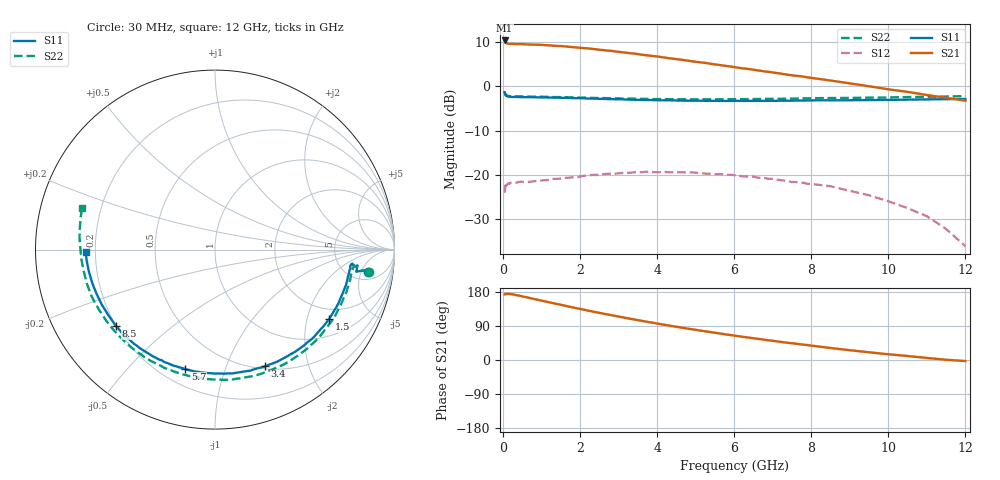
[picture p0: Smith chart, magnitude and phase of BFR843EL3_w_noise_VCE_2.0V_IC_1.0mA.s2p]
! Infineon Technologies  Discrete & RF Semiconductors
! BFR843EL3
! VCE =  2.0 V,  IC =  1.0 mA
! Common Emitter S-Parameters:  Aug 2013
# GHz  S  MA  R  50
!  f  S11  S21  S12  S22
! GHz  MAG  ANG  MAG  ANG  MAG  ANG  MAG  ANG
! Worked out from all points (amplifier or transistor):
!   103 points, 30 MHz to 12 GHz, reference 50 ohm
!   highest |S21| = 10.4 dB at 30 MHz (marker M1)
!   |S21| within 3 dB of that: start of sweep to 3.433 GHz
!   unconditionally stable (mu >= 1): 94.04 MHz to 818.4 MHz; 7.115 GHz to end of sweep
!   at 400 MHz: K = 1.03, MAG = 14.6 dB, |S12| = -21.6 dB
!   at 3.7 GHz: K = 0.75, MSG = 13.2 dB, |S12| = -19.3 dB
!   at 12 GHz: K = 9.11, MAG = 3.8 dB, |S12| = -36.1 dB
!   lowest NFmin = 1.54 dB at 450 MHz
!   S11 on the Smith chart (normalised r, x): 30 MHz: 7.00, -6.53; 1.5 GHz: 1.58, -2.74; 3.4 GHz: 0.53, -1.38; 5.7 GHz: 0.29, -0.74; 8.5 GHz: 0.20, -0.33; 12 GHz: 0.16, -0.01
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0.03  0.8587 -8.2  3.302 173.3  0.0629 39.1  0.8692 -8.2
0.04  0.8282 -8.1  3.209 173.6  0.0696 32.1  0.839 -8.0
0.05  0.7966 -8.9  3.173 174.6  0.0759 15.6  0.8235 -8.0
0.06  0.7985 -6.3  3.124 173.9  0.0695 21.1  0.8078 -7.4
0.08  0.7814 -6.5  3.074 174.6  0.0774 17.7  0.793 -7.0
0.2  0.7613 -6.4  3.012 173.9  0.0819 7.4  0.7757 -7.8
0.5  0.7557 -11.3  3.003 167.5  0.0834 4.9  0.7696 -15.1
0.9  0.7518 -19.3  2.952 158.8  0.0861 4.6  0.7637 -25.8
1.5  0.7439 -31.3  2.854 145.4  0.0913 3.1  0.757 -41.8
2.1  0.7341 -42.9  2.703 132.5  0.098 0.6  0.7467 -57.1
2.8  0.7179 -56.0  2.521 118.3  0.1037 -3.8  0.7349 -73.7
3.4  0.7066 -66.9  2.349 106.9  0.1071 -9.3  0.7265 -86.7
4.1  0.6971 -78.7  2.141 94.4  0.1071 -15.8  0.7195 -100.6
4.8  0.6907 -90.2  1.95 82.6  0.1059 -22.4  0.7167 -113.4
5.7  0.6855 -103.9  1.723 68.8  0.1018 -30.9  0.7156 -128.1
6.1  0.687 -109.8  1.626 62.9  0.0984 -34.7  0.7178 -134.3
7.3  0.6905 -126.8  1.373 46.4  0.0864 -46.4  0.7265 -150.7
8.5  0.6971 -142.4  1.164 31.6  0.0745 -58.9  0.7391 -165.5
9.5  0.7015 -154.3  1.003 20.3  0.0589 -70.6  0.7468 -176.0
10.5  0.7089 -164.8  0.867 10.5  0.0421 -85.0  0.7585 174.6
11  0.7131 -170.0  0.799 5.5  0.0342 -95.2  0.7633 170.3
12  0.721 -178.9  0.689 -2.8  0.0157 -132.9  0.7759 162.5
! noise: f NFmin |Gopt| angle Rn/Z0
0.45  1.54  0.4  4  0.43
0.9  1.59  0.39  15  0.45
1.5  1.63  0.39  24  0.47
1.9  1.66  0.4  29  0.47
2.4  1.71  0.41  36  0.42
3.5  1.86  0.39  60  0.38
5.5  2.19  0.41  94  0.29
8  2.64  0.47  137  0.21
10  2.99  0.47  192  0.17
